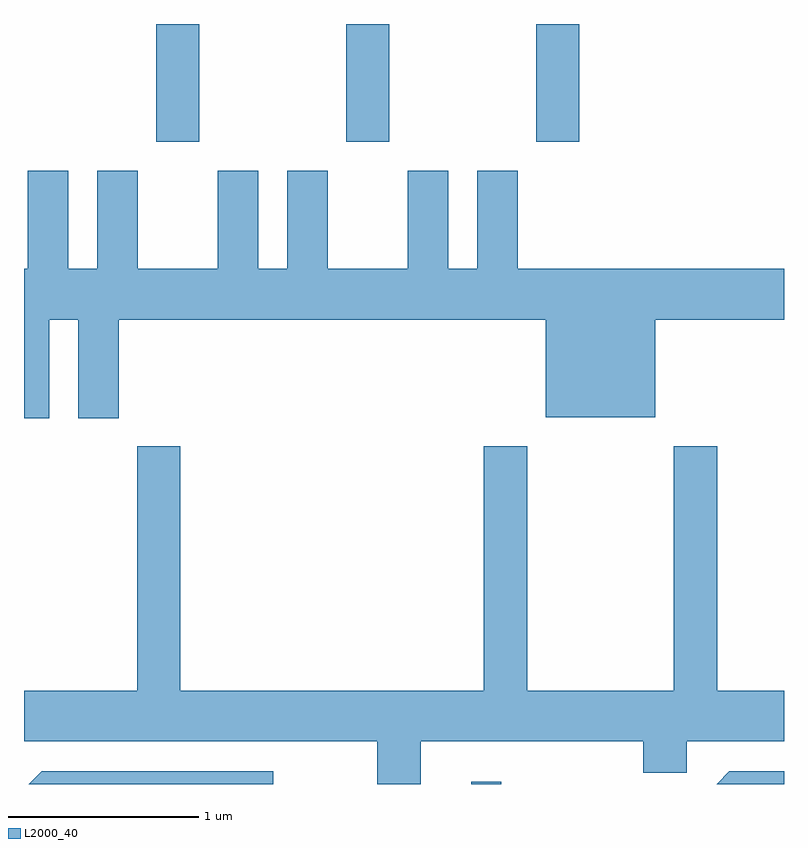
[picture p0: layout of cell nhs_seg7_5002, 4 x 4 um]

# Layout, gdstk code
import gdstk
lib = gdstk.Library(unit=1e-6, precision=1e-09)
def R(c, l, rs):  # rectangles x0, y0, x1, y1
    for r in rs: c.add(gdstk.rectangle(r[:2], r[2:], *l))
def A(c, l, x, y, w, h, nx, ny, dx, dy):  # array of equal rectangles
    R(c, l, [(x+i*dx, y+j*dy, x+i*dx+w, y+j*dy+h) for i in range(nx) for j in range(ny)])
def P(c, l, *ps):  # polygons
    for p in ps: c.add(gdstk.Polygon(p, *l))
L2000_40 = (2000, 40)

nhs_seg7_5002 = lib.new_cell('nhs_seg7_5002')
A(nhs_seg7_5002, L2000_40, 338.306, 1779.631, 0.228, 0.621, 3, 1, 1, 0)
R(nhs_seg7_5002, L2000_40, [(339.966,1776.252,340.124,1776.263)])
P(nhs_seg7_5002, L2000_40, [(337.744,1778.696),(337.896,1778.696),(337.896,1778.176),(338.109,1778.176),(338.109,1778.696),(340.356,1778.696),(340.356,1778.181),(340.934,1778.181),(340.934,1778.696),(341.611,1778.696),(341.611,1778.964),(340.209,1778.964),(340.209,1779.479),(339.996,1779.479),(339.996,1778.964),(339.844,1778.964),(339.844,1779.479),(339.631,1779.479),(339.631,1778.964),(339.209,1778.964),(339.209,1779.479),(338.996,1779.479),(338.996,1778.964),(338.844,1778.964),(338.844,1779.479),(338.631,1779.479),(338.631,1778.964),(338.209,1778.964),(338.209,1779.479),(337.996,1779.479),(337.996,1778.964),(337.844,1778.964),(337.844,1779.479),(337.631,1779.479),(337.631,1778.964),(337.611,1778.964),(337.611,1778.176),(337.744,1778.176)],
  [(339.699,1776.476),(340.871,1776.476),(340.871,1776.311),(341.099,1776.311),(341.099,1776.476),(341.611,1776.476),(341.611,1776.744),(341.259,1776.744),(341.259,1778.029),(341.031,1778.029),(341.031,1776.744),(340.259,1776.744),(340.259,1778.029),(340.031,1778.029),(340.031,1776.744),(338.434,1776.744),(338.434,1778.029),(338.206,1778.029),(338.206,1776.744),(337.611,1776.744),(337.611,1776.476),(339.471,1776.476),(339.471,1776.252),(339.699,1776.252)],
  [(341.611,1776.319),(341.324,1776.319),(341.257,1776.252),(341.611,1776.252)],
  [(338.924,1776.319),(337.704,1776.319),(337.637,1776.252),(338.924,1776.252)])

lib.write_gds('nhs_seg7_5002.gds')
